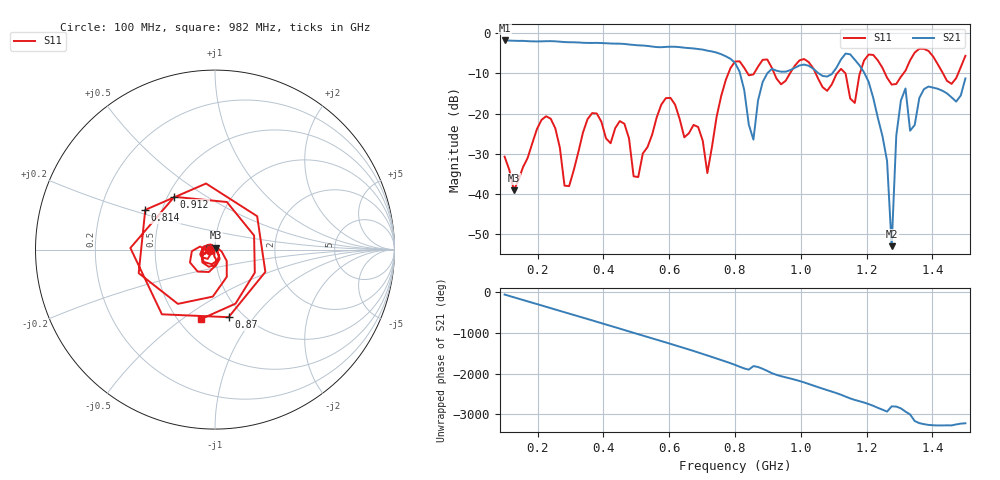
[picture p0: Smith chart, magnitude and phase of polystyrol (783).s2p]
! NanoVNA-App
! Date: 2025-09-25 15:35:58
! Start: 100MHz Stop: 1,5GHz Points: 101
! S-Parameter data: F S11 S21 S12 S22
# Hz S RI R 50
!  Frequency  S11_Real  S11_Imag  S21_Real  S21_Imag  S12_Real  S12_Imag  S22_Real  S22_Imag
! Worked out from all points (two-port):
!   101 points, 100 MHz to 1.5 GHz, reference 50 ohm
!   highest |S21| = -1.80 dB at 100 MHz (marker M1); lowest = -53.0 dB at 1.276 GHz (marker M2)
!   |S21| within 3 dB of the highest: start of sweep to 743.2 MHz
!   lowest |S11| = -39.1 dB at 128 MHz (marker M3), VSWR 1.02, Z = 50.3 + j1.07 ohm
!   |S11| at or under -10 dB: start of sweep to 779.8 MHz; 1.045 GHz to 1.11 GHz (65.21 MHz wide, 6.05 % of centre); 1.256 GHz to 1.312 GHz (55.83 MHz wide, 4.35 % of centre) (the widest 3 of 7)
!   S12 and S22 are empty: the file has one direction only
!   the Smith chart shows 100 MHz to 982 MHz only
!   S11 on the Smith chart (normalised r, x): 100 MHz: 0.94, -0.01; 814 MHz: 0.40, +0.22; 870 MHz: 0.86, -0.76; 912 MHz: 0.54, +0.37; 982 MHz: 0.64, -0.59
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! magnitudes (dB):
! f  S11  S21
! 100 MHz  -30.7  -1.8
! 128 MHz  -39.1  -1.9
! 212 MHz  -21.6  -2.0
! 282 MHz  -37.9  -2.2
! 338 MHz  -24.7  -2.4
! 506 MHz  -35.8  -3.0
! 576 MHz  -17.8  -3.5
! 716 MHz  -34.8  -4.3
! 800 MHz  -7.0  -7.4
! 814 MHz  -7.0  -9.6
! 856 MHz  -10.3  -26.5
! 870 MHz  -8.3  -16.7
! 912 MHz  -8.6  -8.9
! 982 MHz  -8.1  -8.6
! 1.038 GHz  -8.7  -8.8
! 1.164 GHz  -17.3  -6.6
! 1.206 GHz  -5.3  -12.1
! 1.262 GHz  -11.1  -31.8
! 1.276 GHz  -12.8  -53.0
! 1.29 GHz  -12.6  -25.5
! 1.318 GHz  -9.3  -13.7
! 1.5 GHz  -5.6  -11.2
